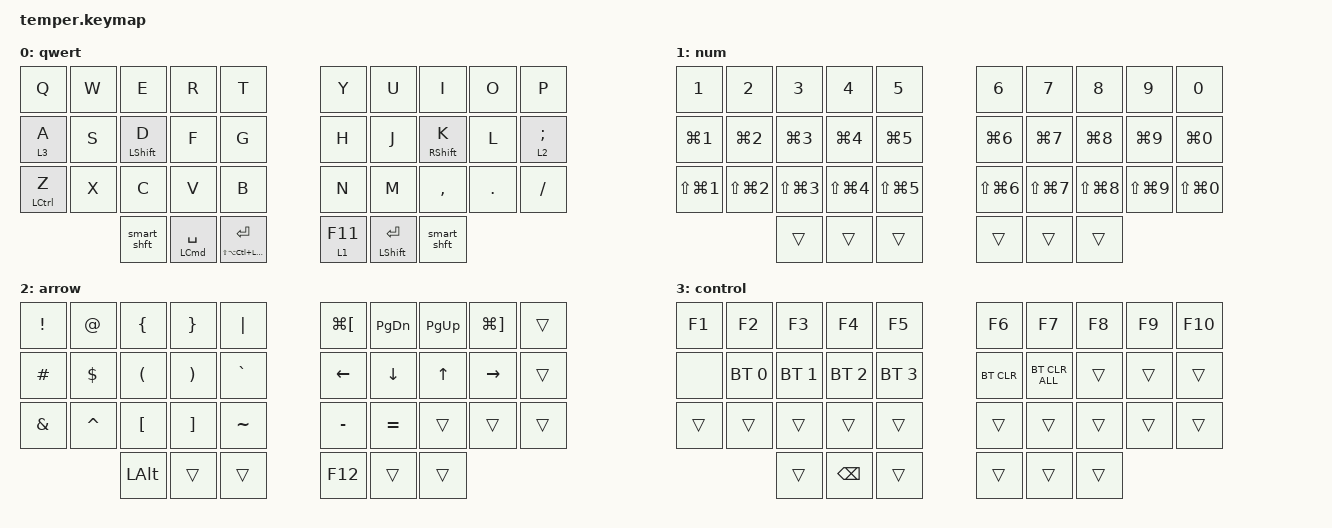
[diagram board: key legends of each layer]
/*
 * Copyright (c) 2020 The ZMK Contributors
 *
 * SPDX-License-Identifier: MIT
 */

#include <behaviors.dtsi>
#include <dt-bindings/zmk/bt.h>
#include <dt-bindings/zmk/keys.h>

/ {
    behaviors {
        bhm: balanced_homerow_mods {
            compatible = "zmk,behavior-hold-tap";
            #binding-cells = <2>;
            tapping-term-ms = <200>;    // <---[[moderate duration]]
            quick-tap-ms = <0>;
            flavor = "balanced";
            bindings = <&kp>, <&kp>;
        };

        bspc_del: backspace_delete {
            compatible = "zmk,behavior-mod-morph";
            #binding-cells = <0>;
            bindings = <&kp BACKSPACE>, <&kp DELETE>;

            mods = <(MOD_LSFT|MOD_RSFT)>;
            keep-mods = <(MOD_RSFT)>;
        };

        super_bspc: super_backspace {
            compatible = "zmk,behavior-mod-morph";
            #binding-cells = <0>;
            bindings = <&kp BACKSPACE>, <&kp LA(BACKSPACE)>;

            mods = <(MOD_LSFT|MOD_RSFT)>;
        };

        smart_shft: smart_shift {
            compatible = "zmk,behavior-mod-morph";
            #binding-cells = <0>;
            bindings = <&kp LSHFT>, <&caps_word>;

            mods = <(MOD_LSFT)>;
        };

        comma_semi: comma_semi {
            compatible = "zmk,behavior-mod-morph";
            #binding-cells = <0>;
            bindings = <&kp COMMA>, <&kp SEMI>;

            mods = <(MOD_LSFT)>;
        };

        dot_colon: dot_colon {
            compatible = "zmk,behavior-mod-morph";
            #binding-cells = <0>;
            bindings = <&kp DOT>, <&kp COLON>;

            mods = <(MOD_LSFT)>;
        };

        qmrk_excl: qmrk_excl {
            compatible = "zmk,behavior-mod-morph";
            #binding-cells = <0>;
            bindings = <&kp QMARK>, <&kp EXCL>;

            mods = <(MOD_LSFT)>;
        };

        slh_morph: slh_morph {
            compatible = "zmk,behavior-mod-morph";
            #binding-cells = <0>;
            bindings = <&kp FSLH>, <&kp BSLH>;

            mods = <(MOD_LSFT)>;
        };

        amps_morph: amps_morph {
            compatible = "zmk,behavior-mod-morph";
            #binding-cells = <0>;
            bindings = <&kp AMPS>, <&kp PIPE>;

            mods = <(MOD_LSFT)>;
        };
    };

    combos {
        compatible = "zmk,combos";

        a {
            bindings = <&kp ESCAPE>;
            key-positions = <1 2>;
        };

        b {
            bindings = <&kp TAB>;
            key-positions = <11 12>;
        };

        d {
            bindings = <&kp BACKSPACE>;
            key-positions = <8 7>;
        };

        bootloaderleft {
            bindings = <&bootloader>;
            key-positions = <0 1 2 3>;
        };

        bootloaderright {
            bindings = <&bootloader>;
            key-positions = <6 7 8 9>;
        };

        commandspace {
            bindings = <&kp LG(SPACE)>;
            key-positions = <12 13>;
        };

        sqt {
            bindings = <&kp SQT>;
            key-positions = <18 17>;
        };

        copy {
            bindings = <&kp RG(C)>;
            key-positions = <21 22>;
        };

        paste {
            bindings = <&kp LG(V)>;
            key-positions = <22 23>;
        };
    };

    keymap {
        compatible = "zmk,keymap";

        qwert {
            bindings = <
  &kp Q               &kp W  &kp E              &kp R                   &kp T                             &kp Y      &kp U                 &kp I               &kp O    &kp P
  &lt 3 A             &kp S  &bhm LEFT_SHIFT D  &kp F                   &kp G                             &kp H      &kp J                 &bhm RIGHT_SHIFT K  &kp L    &lt 2 SEMI
  &mt LEFT_CONTROL Z  &kp X  &kp C              &kp V                   &kp B                             &kp N      &kp M                 &kp COMMA           &kp DOT  &kp FSLH
                             &smart_shft        &bhm LEFT_COMMAND SPACE  &bhm LS(LA(LC(LEFT_GUI))) ENTER    &lt 1 F11  &bhm LEFT_SHIFT ENTER  &smart_shft
            >;
        };

        num {
            bindings = <
  &kp N1          &kp N2          &kp N3          &kp N4          &kp N5            &kp N6          &kp N7          &kp N8          &kp N9          &kp N0
  &kp LG(N1)      &kp LG(N2)      &kp LG(N3)      &kp LG(N4)      &kp LG(N5)        &kp LG(N6)      &kp LG(N7)      &kp LG(N8)      &kp LG(N9)      &kp LG(N0)
  &kp LS(LG(N1))  &kp LS(LG(N2))  &kp LS(LG(N3))  &kp LS(LG(N4))  &kp LS(LG(N5))    &kp LS(LG(N6))  &kp LS(LG(N7))  &kp LS(LG(N8))  &kp LS(LG(N9))  &kp LS(LG(N0))
                                  &trans          &trans          &trans            &trans          &trans          &trans
            >;
        };

        arrow {
            bindings = <
  &kp EXCLAMATION  &kp AT_SIGN  &kp LEFT_BRACE        &kp RIGHT_BRACE        &kp PIPE     &kp LG(LEFT_BRACKET)  &kp PAGE_DOWN  &kp PG_UP  &kp LG(RIGHT_BRACKET)  &trans
  &kp POUND        &kp DOLLAR   &kp LEFT_PARENTHESIS  &kp RIGHT_PARENTHESIS  &kp GRAVE    &kp LEFT              &kp DOWN       &kp UP     &kp RIGHT              &trans
  &kp AMPERSAND    &kp CARET    &kp LEFT_BRACKET      &kp RIGHT_BRACKET      &kp TILDE    &kp MINUS             &kp EQUAL      &trans     &trans                 &trans
                                &kp LEFT_ALT          &trans                 &trans       &kp F12               &trans         &trans
            >;
        };

        control {
            bindings = <
  &kp F1  &kp F2        &kp F3        &kp F4         &kp F5          &kp F6      &kp F7          &kp F8  &kp F9  &kp F10
  &none   &bt BT_SEL 0  &bt BT_SEL 1  &bt BT_SEL 2   &bt BT_SEL 3    &bt BT_CLR  &bt BT_CLR_ALL  &trans  &trans  &trans
  &trans  &trans        &trans        &trans         &trans          &trans      &trans          &trans  &trans  &trans
                        &trans        &kp BACKSPACE  &trans          &trans      &trans          &trans
            >;
        };
    };
};
